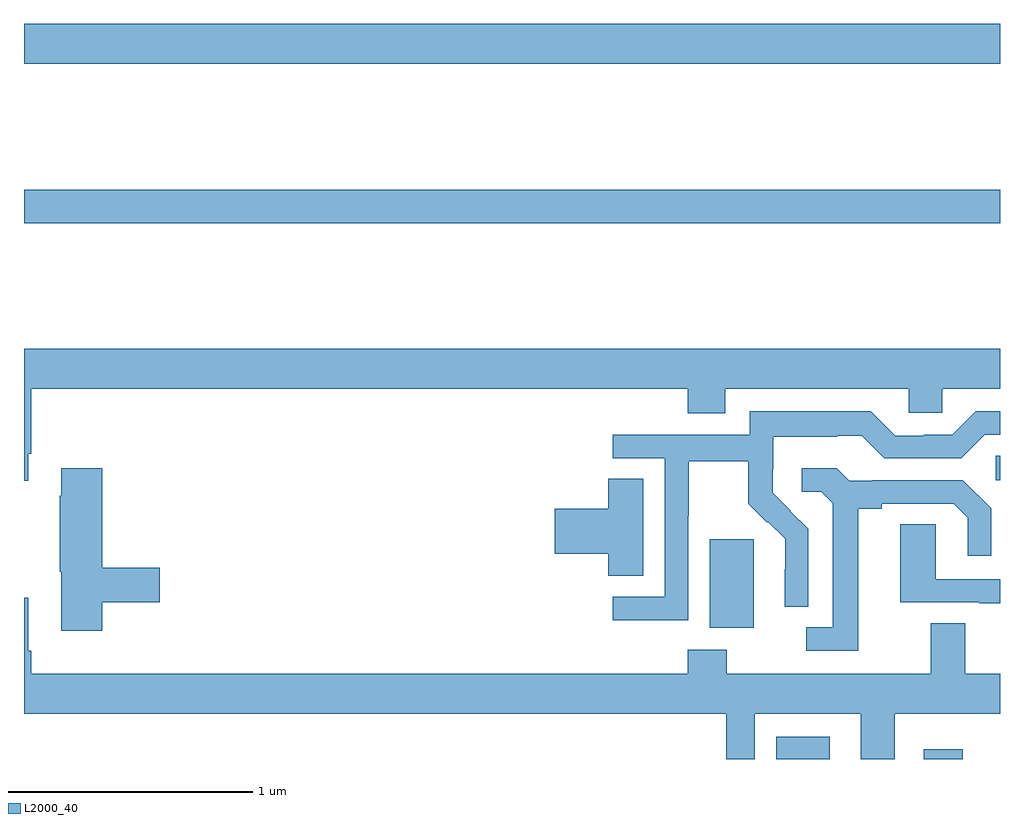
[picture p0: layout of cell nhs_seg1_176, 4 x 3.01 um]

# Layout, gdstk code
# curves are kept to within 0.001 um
import gdstk
lib = gdstk.Library(unit=1e-6, precision=1e-09)
def R(c, l, rs):  # rectangles x0, y0, x1, y1
    for r in rs: c.add(gdstk.rectangle(r[:2], r[2:], *l))
def P(c, l, *ps):  # polygons
    for p in ps: c.add(gdstk.Polygon(p, *l))
L2000_40 = (2000, 40)

nhs_seg1_176 = lib.new_cell('nhs_seg1_176')
R(nhs_seg1_176, L2000_40, [(122.084,566.199,122.302,566.29), (122.687,566.199,122.848,566.239), (121.811,566.738,121.99,567.099), (122.982,567.342,123,567.443), (119,568.396,123,568.532), (119,569.048,123,569.212)])
P(nhs_seg1_176, L2000_40, [(119.017,567.451),(119.03,567.451),(119.03,567.716),(121.721,567.716),(121.721,567.617),(121.873,567.617),(121.873,567.716),(122.625,567.716),(122.625,567.618),(122.763,567.618),(122.763,567.716),(123,567.716),(123,567.88),(119,567.88),(119,567.339),(119.017,567.339)],
  [(121.722,567.196),(121.725,567.196),(121.725,567.42),(121.969,567.42),(121.969,567.245),(122.046,567.168),(122.049,567.171),(122.12,567.101),(122.12,566.978),(122.118,566.978),(122.118,566.824),(122.214,566.824),(122.214,567.142),(122.068,567.29),(122.068,567.387),(122.07,567.387),(122.07,567.521),(122.333,567.521),(122.333,567.525),(122.433,567.525),(122.526,567.432),(122.841,567.432),(122.937,567.528),(123,567.528),(123,567.624),(122.901,567.624),(122.805,567.528),(122.687,567.528),(122.687,567.525),(122.571,567.525),(122.471,567.625),(121.974,567.625),(121.974,567.528),(121.413,567.528),(121.413,567.432),(121.626,567.432),(121.626,566.865),(121.413,566.865),(121.413,566.767),(121.722,566.767)],
  [(119.321,566.842),(119.557,566.842),(119.557,566.984),(119.321,566.984),(119.321,567.391),(119.153,567.391),(119.153,567.278),(119.146,567.278),(119.146,566.967),(119.153,566.967),(119.153,566.724),(119.321,566.724)],
  [(122.419,567.224),(122.515,567.224),(122.515,567.246),(122.81,567.246),(122.867,567.189),(122.867,567.033),(122.964,567.033),(122.964,567.226),(122.848,567.342),(122.476,567.342),(122.476,567.339),(122.382,567.339),(122.33,567.391),(122.187,567.391),(122.187,567.294),(122.268,567.294),(122.315,567.247),(122.315,566.739),(122.205,566.739),(122.205,566.643),(122.419,566.643)],
  [(121.537,567.347),(121.394,567.347),(121.394,567.224),(121.176,567.224),(121.176,567.041),(121.394,567.041),(121.394,566.95),(121.537,566.95)],
  [(123,566.937),(122.736,566.937),(122.736,567.161),(122.591,567.161),(122.591,566.841),(122.915,566.841),(122.915,566.837),(123,566.837)],
  [(121.995,566.384),(122.429,566.384),(122.429,566.199),(122.569,566.199),(122.569,566.384),(123,566.384),(123,566.548),(122.857,566.548),(122.857,566.756),(122.717,566.756),(122.717,566.548),(121.881,566.548),(121.881,566.647),(121.721,566.647),(121.721,566.548),(119.03,566.548),(119.03,566.644),(119.017,566.644),(119.017,566.86),(119,566.86),(119,566.384),(121.879,566.384),(121.879,566.199),(121.995,566.199)])

lib.write_gds('nhs_seg1_176.gds')
